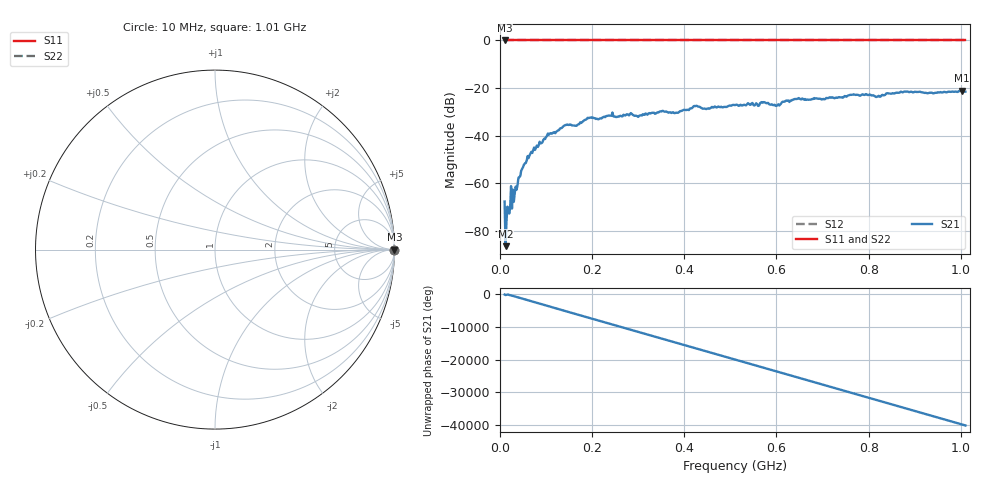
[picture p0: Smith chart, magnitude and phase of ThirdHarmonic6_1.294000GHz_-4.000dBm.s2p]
! 8/16/2025 2:10:41 PM
! C:\ANRITSUVNA\TEMP\TEMP.S2P
! CHANNEL.1
! TR.MEASUREMENT
! RAW.DATA
! RF.CORRECTION.OFF
! AVERAGING.OFF
! IF.BANDWIDTH: 5KHZ
! SWEEPTYPE:  FREQ.SWEEP(Linear)
! Reference Plane Port Info
! PORT:  PORT1  PORT2
! DISTANCE:  0  m  0  m
! TIME:  0  s  0  s
! PHASE.OFFSET:  0  deg.  0  deg.
! LOSS:  0  dB  0  dB
! REF.LOSS:  0  dB  0  dB
! REF.FREQ:  0  Hz  0  Hz
! Power Info
! POWER:  -20  dBm  -20  dBm
! EFF.POWER:  -20  dBm  -20  dBm
! SOURCE.ATTEN:  0  dB  0  dB
! TEST.ATTEN:  0  dB  0  dB
# GHZ S RI R 50.0
! FREQ.GHZ  S11RE  S11IM  S21RE  S21IM  S12RE  S12IM  S22RE  S22IM
!; PortSelection: Port_12
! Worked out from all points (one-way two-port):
!   501 points, 10 MHz to 1.01 GHz, reference 50 ohm
!   highest |S21| = -21.12 dB at 1.002 GHz (marker M1); lowest = -86.6 dB at 12 MHz (marker M2)
!   lowest |S11| = 0.0 dB at 10 MHz (marker M3)
!   |S11| at or under -10 dB: nowhere
!   |S22| runs from 0.0 to 0.0 dB; largest |S21 - S12| = 1.1
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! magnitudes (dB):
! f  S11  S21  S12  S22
! 10 MHz  0.0  -67.7  0.0  0.0
! 12 MHz  0.0  -86.6  0.0  0.0
! 16 MHz  0.0  -69.9  0.0  0.0
! 20 MHz  0.0  -72.9  0.0  0.0
! 34 MHz  0.0  -61.5  0.0  0.0
! 44 MHz  0.0  -57.0  0.0  0.0
! 70 MHz  0.0  -47.3  0.0  0.0
! 106 MHz  0.0  -39.6  0.0  0.0
! 142 MHz  0.0  -35.6  0.0  0.0
! 178 MHz  0.0  -34.4  0.0  0.0
! 240 MHz  0.0  -31.6  0.0  0.0
! 300 MHz  0.0  -32.1  0.0  0.0
! 344 MHz  0.0  -30.3  0.0  0.0
! 424 MHz  0.0  -27.7  0.0  0.0
! 510 MHz  0.0  -27.2  0.0  0.0
! 570 MHz  0.0  -26.2  0.0  0.0
! 602 MHz  0.0  -27.2  0.0  0.0
! 644 MHz  0.0  -24.6  0.0  0.0
! 678 MHz  0.0  -24.6  0.0  0.0
! 844 MHz  0.0  -22.3  0.0  0.0
! 1.002 GHz  0.0  -21.1  0.0  0.0
! 1.01 GHz  0.0  -21.5  0.0  0.0
